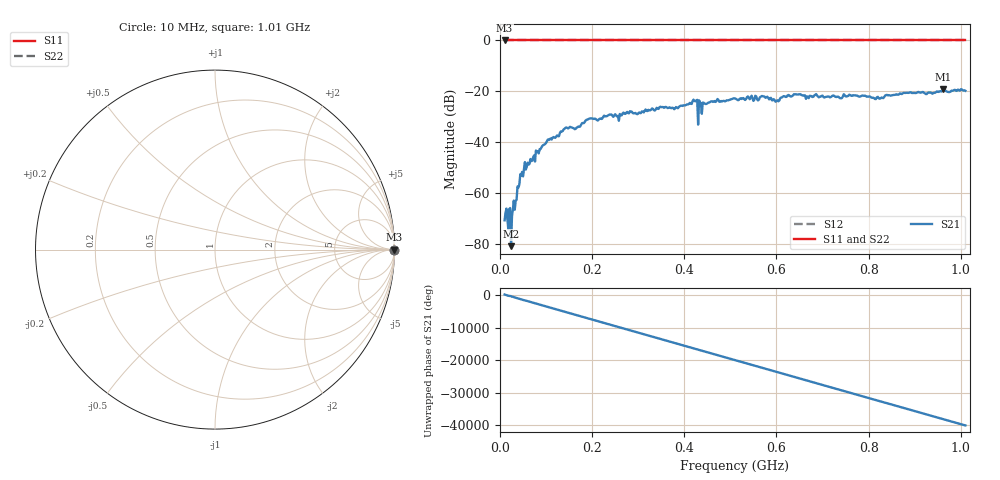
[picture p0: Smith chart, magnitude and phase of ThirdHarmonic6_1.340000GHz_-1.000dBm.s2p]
! 8/16/2025 3:02:03 PM
! C:\ANRITSUVNA\TEMP\TEMP.S2P
! CHANNEL.1
! TR.MEASUREMENT
! RAW.DATA
! RF.CORRECTION.OFF
! AVERAGING.OFF
! IF.BANDWIDTH: 5KHZ
! SWEEPTYPE:  FREQ.SWEEP(Linear)
! Reference Plane Port Info
! PORT:  PORT1  PORT2
! DISTANCE:  0  m  0  m
! TIME:  0  s  0  s
! PHASE.OFFSET:  0  deg.  0  deg.
! LOSS:  0  dB  0  dB
! REF.LOSS:  0  dB  0  dB
! REF.FREQ:  0  Hz  0  Hz
! Power Info
! POWER:  -20  dBm  -20  dBm
! EFF.POWER:  -20  dBm  -20  dBm
! SOURCE.ATTEN:  0  dB  0  dB
! TEST.ATTEN:  0  dB  0  dB
# GHZ S RI R 50.0
! FREQ.GHZ  S11RE  S11IM  S21RE  S21IM  S12RE  S12IM  S22RE  S22IM
!; PortSelection: Port_12
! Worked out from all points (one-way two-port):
!   501 points, 10 MHz to 1.01 GHz, reference 50 ohm
!   highest |S21| = -19.14 dB at 962 MHz (marker M1); lowest = -80.8 dB at 24 MHz (marker M2)
!   lowest |S11| = 0.0 dB at 10 MHz (marker M3)
!   |S11| at or under -10 dB: nowhere
!   |S22| runs from 0.0 to 0.0 dB; largest |S21 - S12| = 1.1
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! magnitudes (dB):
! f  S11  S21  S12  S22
! 10 MHz  0.0  -70.6  0.0  0.0
! 18 MHz  0.0  -74.1  0.0  0.0
! 20 MHz  0.0  -66.2  0.0  0.0
! 24 MHz  0.0  -80.8  0.0  0.0
! 28 MHz  0.0  -66.4  0.0  0.0
! 30 MHz  0.0  -62.9  0.0  0.0
! 42 MHz  0.0  -56.6  0.0  0.0
! 56 MHz  0.0  -50.7  0.0  0.0
! 106 MHz  0.0  -39.1  0.0  0.0
! 178 MHz  0.0  -32.5  0.0  0.0
! 194 MHz  0.0  -30.7  0.0  0.0
! 344 MHz  0.0  -26.9  0.0  0.0
! 382 MHz  0.0  -26.1  0.0  0.0
! 424 MHz  0.0  -23.9  0.0  0.0
! 434 MHz  0.0  -24.2  0.0  0.0
! 444 MHz  0.0  -24.8  0.0  0.0
! 510 MHz  0.0  -22.7  0.0  0.0
! 602 MHz  0.0  -23.5  0.0  0.0
! 678 MHz  0.0  -22.2  0.0  0.0
! 844 MHz  0.0  -21.5  0.0  0.0
! 962 MHz  0.0  -19.1  0.0  0.0
! 1.01 GHz  0.0  -19.8  0.0  0.0
